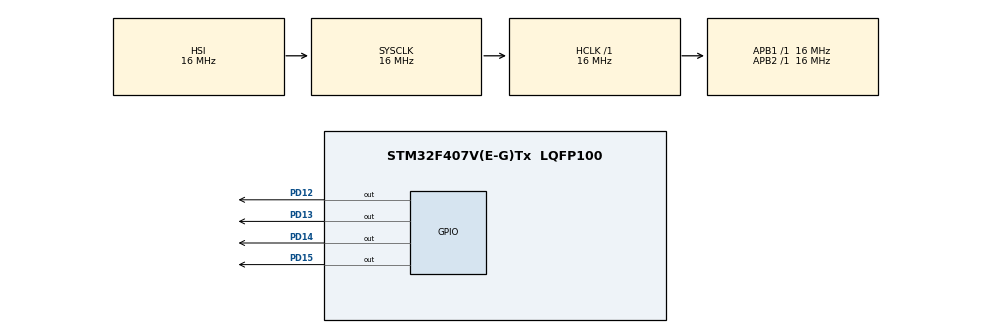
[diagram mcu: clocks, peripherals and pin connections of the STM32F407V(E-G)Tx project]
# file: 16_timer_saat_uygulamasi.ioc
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Mcu.Family=STM32F4
Mcu.Name=STM32F407V(E-G)Tx
Mcu.Package=LQFP100
NVIC.PriorityGroup=NVIC_PRIORITYGROUP_4
NVIC.TIM7_IRQn=true\:0\:0\:false\:false\:true\:true\:true\:true
PD12.Signal=GPIO_Output
PD13.Signal=GPIO_Output
PD14.Signal=GPIO_Output
PD15.Signal=GPIO_Output
ProjectManager.HeapSize=0x200
ProjectManager.StackSize=0x400
ProjectManager.TargetToolchain=STM32CubeIDE
RCC.AHBFreq_Value=16000000
RCC.APB1Freq_Value=16000000
RCC.APB2Freq_Value=16000000
RCC.CortexFreq_Value=16000000
RCC.HSE_VALUE=25000000
RCC.HSI_VALUE=16000000
RCC.LSE_VALUE=32768
RCC.SYSCLKFreq_VALUE=16000000
RCC.VCOOutputFreq_Value=192000000
TIM7.Period=999
TIM7.Prescaler=15
VP_TIM7_VS_ClockSourceINT.Mode=Enable_Timer
board=custom

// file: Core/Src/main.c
/* USER CODE BEGIN Header */
/**
  ******************************************************************************
  * @file           : main.c
  * @brief          : Main program body
  ******************************************************************************
  * @attention
  *
  * Copyright (c) 2026 STMicroelectronics.
  * All rights reserved.
  *
  * This software is licensed under terms that can be found in the LICENSE file
  * in the root directory of this software component.
  * If no LICENSE file comes with this software, it is provided AS-IS.
  *
  ******************************************************************************
  */
/* USER CODE END Header */
#include "main.h"

TIM_HandleTypeDef htim7;

/* USER CODE BEGIN PV */
uint16_t milisecond;
uint8_t second, minute;
/* USER CODE END PV */

void SystemClock_Config(void);
static void MX_GPIO_Init(void);
static void MX_TIM7_Init(void);

int main(void)
{

  /* MCU Configuration--------------------------------------------------------*/

  /* Reset of all peripherals, Initializes the Flash interface and the Systick. */
  HAL_Init();

  /* Configure the system clock */
  SystemClock_Config();

  /* Initialize all configured peripherals */
  MX_GPIO_Init();
  MX_TIM7_Init();
  /* USER CODE BEGIN 2 */
HAL_TIM_Base_Start_IT(&htim7);
  /* USER CODE END 2 */

  /* Infinite loop */
  while (1)
  {

    /* USER CODE BEGIN 3 */
	  if(second >=0 && second < 15){
		  HAL_GPIO_WritePin(GPIOD, GPIO_PIN_12, GPIO_PIN_SET);
		  HAL_GPIO_WritePin(GPIOD, GPIO_PIN_13 | GPIO_PIN_14 |GPIO_PIN_15 , GPIO_PIN_RESET);
	  }
	  else if(second >=15 && second < 30){
		  HAL_GPIO_WritePin(GPIOD, GPIO_PIN_13, GPIO_PIN_SET);
		  HAL_GPIO_WritePin(GPIOD, GPIO_PIN_12 | GPIO_PIN_14 |GPIO_PIN_15 , GPIO_PIN_RESET);
	  }
	  else if(second >=30 && second < 45){
	  		  HAL_GPIO_WritePin(GPIOD, GPIO_PIN_14, GPIO_PIN_SET);
	  		  HAL_GPIO_WritePin(GPIOD, GPIO_PIN_12 | GPIO_PIN_13 |GPIO_PIN_15 , GPIO_PIN_RESET);
      }
	  else if(second >=45 && second < 60){
	  		  HAL_GPIO_WritePin(GPIOD, GPIO_PIN_15, GPIO_PIN_SET);
	  		  HAL_GPIO_WritePin(GPIOD, GPIO_PIN_12 | GPIO_PIN_13 |GPIO_PIN_14 , GPIO_PIN_RESET);
	  }
  }
  /* USER CODE END 3 */
}

void SystemClock_Config(void)
{
  RCC_OscInitTypeDef RCC_OscInitStruct = {0};
  RCC_ClkInitTypeDef RCC_ClkInitStruct = {0};

  /** Configure the main internal regulator output voltage
  */
  __HAL_RCC_PWR_CLK_ENABLE();
  __HAL_PWR_VOLTAGESCALING_CONFIG(PWR_REGULATOR_VOLTAGE_SCALE1);

  /** Initializes the RCC Oscillators according to the specified parameters
  * in the RCC_OscInitTypeDef structure.
  */
  RCC_OscInitStruct.OscillatorType = RCC_OSCILLATORTYPE_HSI;
  RCC_OscInitStruct.HSIState = RCC_HSI_ON;
  RCC_OscInitStruct.HSICalibrationValue = RCC_HSICALIBRATION_DEFAULT;
  RCC_OscInitStruct.PLL.PLLState = RCC_PLL_NONE;
  if (HAL_RCC_OscConfig(&RCC_OscInitStruct) != HAL_OK)
  {
    Error_Handler();
  }

  /** Initializes the CPU, AHB and APB buses clocks
  */
  RCC_ClkInitStruct.ClockType = RCC_CLOCKTYPE_HCLK|RCC_CLOCKTYPE_SYSCLK
                              |RCC_CLOCKTYPE_PCLK1|RCC_CLOCKTYPE_PCLK2;
  RCC_ClkInitStruct.SYSCLKSource = RCC_SYSCLKSOURCE_HSI;
  RCC_ClkInitStruct.AHBCLKDivider = RCC_SYSCLK_DIV1;
  RCC_ClkInitStruct.APB1CLKDivider = RCC_HCLK_DIV1;
  RCC_ClkInitStruct.APB2CLKDivider = RCC_HCLK_DIV1;

  if (HAL_RCC_ClockConfig(&RCC_ClkInitStruct, FLASH_LATENCY_0) != HAL_OK)
  {
    Error_Handler();
  }
}

static void MX_TIM7_Init(void)
{

  TIM_MasterConfigTypeDef sMasterConfig = {0};

  htim7.Instance = TIM7;
  htim7.Init.Prescaler = 15;
  htim7.Init.CounterMode = TIM_COUNTERMODE_UP;
  htim7.Init.Period = 999;
  htim7.Init.AutoReloadPreload = TIM_AUTORELOAD_PRELOAD_DISABLE;
  if (HAL_TIM_Base_Init(&htim7) != HAL_OK)
  {
    Error_Handler();
  }
  sMasterConfig.MasterOutputTrigger = TIM_TRGO_RESET;
  sMasterConfig.MasterSlaveMode = TIM_MASTERSLAVEMODE_DISABLE;
  if (HAL_TIMEx_MasterConfigSynchronization(&htim7, &sMasterConfig) != HAL_OK)
  {
    Error_Handler();
  }

}

static void MX_GPIO_Init(void)
{
  GPIO_InitTypeDef GPIO_InitStruct = {0};

  /* GPIO Ports Clock Enable */
  __HAL_RCC_GPIOD_CLK_ENABLE();

  /*Configure GPIO pin Output Level */
  HAL_GPIO_WritePin(GPIOD, GPIO_PIN_12|GPIO_PIN_13|GPIO_PIN_14|GPIO_PIN_15, GPIO_PIN_RESET);

  /*Configure GPIO pins : PD12 PD13 PD14 PD15 */
  GPIO_InitStruct.Pin = GPIO_PIN_12|GPIO_PIN_13|GPIO_PIN_14|GPIO_PIN_15;
  GPIO_InitStruct.Mode = GPIO_MODE_OUTPUT_PP;
  GPIO_InitStruct.Pull = GPIO_NOPULL;
  GPIO_InitStruct.Speed = GPIO_SPEED_FREQ_LOW;
  HAL_GPIO_Init(GPIOD, &GPIO_InitStruct);

}

void Error_Handler(void)
{
  __disable_irq();
  while (1)
  {
  }
}
